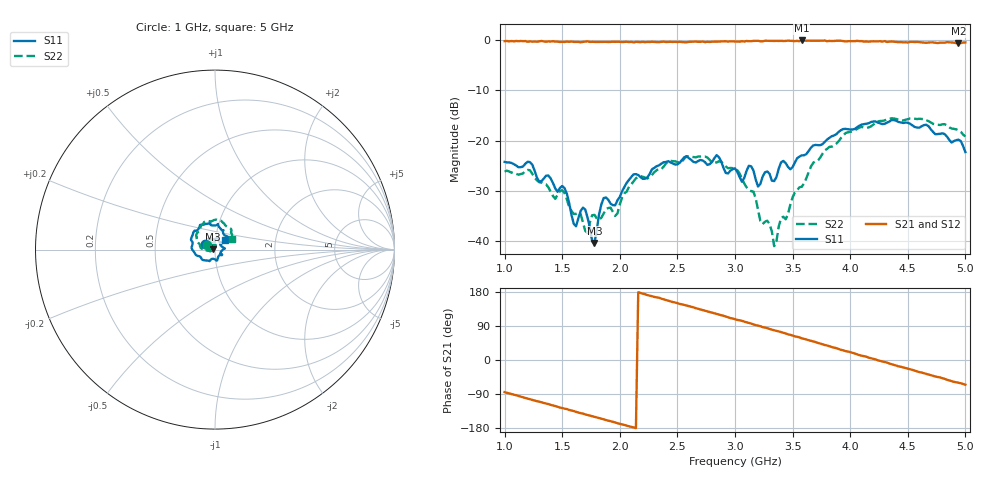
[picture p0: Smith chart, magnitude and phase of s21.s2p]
! Fachhochschule Frankfurt am Main - Electrotechnik Labor
! January 22, 2015 - 15:18
! This file was generated by Network Analyzer Importer software
! Data was imported from Network Analyzer HEWLETT PACKARD,8722A,0,1.03
! Two-port S-parameter data
# GHZ S MA R 50
! Freq  MagS11  AngS11  MagS21  AngS21  MagS12  AngS12  MagS22  AngS22
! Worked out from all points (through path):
!   201 points, 1 GHz to 5 GHz, reference 50 ohm
!   highest |S21| = -0.03 dB at 3.58 GHz (marker M1); lowest = -0.6 dB at 4.94 GHz (marker M2)
!   group delay of S21, straight-line fit = 237 ps
!   lowest |S11| = -40.4 dB at 1.78 GHz (marker M3), VSWR 1.02, Z = 49.1 + j0.0765 ohm
!   |S11| at or under -10 dB: start of sweep to end of sweep
!   |S22| runs from -41.1 to -15.6 dB; largest |S21 - S12| = 0.036
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1  0.06133 151.2  0.9807 -84.8  0.9821 -85.2  0.04918 151.7
1.5  0.03528 98.0  0.9657 -126.8  0.9586 -126.9  0.03207 104.7
1.62  0.01399 110.7  0.9649 -136.8  0.9653 -136.6  0.01859 117.8
1.68  0.02145 117.5  0.9642 -141.5  0.9613 -141.8  0.01531 99.0
1.72  0.01703 139.6  0.9771 -145.1  0.9641 -144.7  0.01197 122.7
1.78  0.009532 175.3  0.9633 -150.0  0.9629 -149.9  0.01819 139.0
1.86  0.02674 170.5  0.9664 -156.7  0.9636 -156.6  0.0188 -179.3
1.96  0.02267 172.3  0.9654 -165.0  0.9546 -164.7  0.01775 -179.7
2.14  0.04627 166.0  0.9659 -179.6  0.9599 -179.9  0.04208 167.4
2.34  0.05668 158.6  0.9586 164.5  0.9621 163.4  0.05228 144.6
3  0.05301 48.0  0.9736 107.5  0.973 107.8  0.05242 98.0
3.06  0.03892 38.0  0.9784 103.4  0.9742 102.8  0.04163 92.2
3.16  0.0503 4.8  0.9866 94.1  0.987 94.1  0.031 90.2
3.2  0.03482 -20.4  0.9892 90.5  0.9873 90.5  0.0205 77.8
3.34  0.03945 -50.4  0.9855 78.3  0.9926 78.6  0.008861 102.6
3.4  0.06079 -78.7  0.9881 73.7  0.9889 73.2  0.01693 159.1
3.58  0.07129 -115.6  0.9967 57.2  0.9825 58.0  0.03467 -170.8
3.68  0.0896 -140.1  0.9897 48.8  0.9889 48.8  0.0603 175.6
4.06  0.136 160.4  0.9873 15.1  0.99 15.7  0.1306 143.6
4.34  0.155 123.3  0.9702 -9.2  0.9779 -9.2  0.1653 110.8
4.94  0.1021 43.3  0.9294 -60.1  0.9469 -60.6  0.127 42.2
5  0.07677 43.8  0.9528 -65.1  0.938 -65.9  0.1099 31.3
